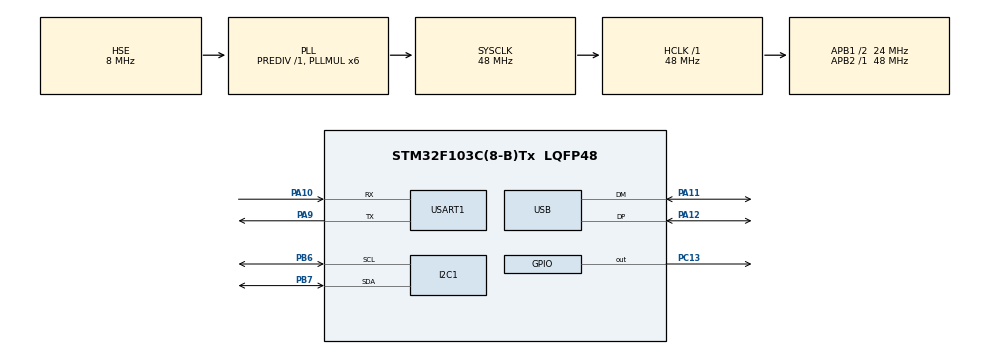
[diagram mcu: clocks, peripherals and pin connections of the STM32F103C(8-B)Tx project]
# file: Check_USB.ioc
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I2C1.I2C_Mode=I2C_Fast
Mcu.Family=STM32F1
Mcu.Name=STM32F103C(8-B)Tx
Mcu.Package=LQFP48
NVIC.PriorityGroup=NVIC_PRIORITYGROUP_4
NVIC.USB_LP_CAN1_RX0_IRQn=true\:0\:0\:false\:false\:true\:false\:true\:true
PA10.Mode=Asynchronous
PA10.Signal=USART1_RX
PA11.Mode=Device
PA11.Signal=USB_DM
PA12.Mode=Device
PA12.Signal=USB_DP
PA13.Mode=Serial_Wire
PA13.Signal=SYS_JTMS-SWDIO
PA14.Mode=Serial_Wire
PA14.Signal=SYS_JTCK-SWCLK
PA9.Mode=Asynchronous
PA9.Signal=USART1_TX
PB6.Mode=I2C
PB6.Signal=I2C1_SCL
PB7.Mode=I2C
PB7.Signal=I2C1_SDA
PC13-TAMPER-RTC.PinState=GPIO_PIN_SET
PC13-TAMPER-RTC.Signal=GPIO_Output
PD0-OSC_IN.Mode=HSE-External-Oscillator
PD0-OSC_IN.Signal=RCC_OSC_IN
PD1-OSC_OUT.Mode=HSE-External-Oscillator
PD1-OSC_OUT.Signal=RCC_OSC_OUT
ProjectManager.HeapSize=0x800
ProjectManager.StackSize=0x400
ProjectManager.TargetToolchain=MDK-ARM V5.27
RCC.AHBFreq_Value=48000000
RCC.APB1CLKDivider=RCC_HCLK_DIV2
RCC.APB1Freq_Value=24000000
RCC.APB1TimFreq_Value=48000000
RCC.APB2Freq_Value=48000000
RCC.APB2TimFreq_Value=48000000
RCC.HCLKFreq_Value=48000000
RCC.PLLMUL=RCC_PLL_MUL6
RCC.SYSCLKFreq_VALUE=48000000
RCC.SYSCLKSource=RCC_SYSCLKSOURCE_PLLCLK
RCC.USBFreq_Value=48000000
USART1.VirtualMode=VM_ASYNC
USB_DEVICE.APP_RX_DATA_SIZE=64
USB_DEVICE.APP_TX_DATA_SIZE=64
USB_DEVICE.CLASS_NAME_FS=CDC
USB_DEVICE.VirtualMode=Cdc
USB_DEVICE.VirtualModeFS=Cdc_FS
VP_USB_DEVICE_VS_USB_DEVICE_CDC_FS.Mode=CDC_FS
board=custom

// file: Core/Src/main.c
/* USER CODE BEGIN Header */
/**
  ******************************************************************************
  * @file           : main.c
  * @brief          : Main program body
  ******************************************************************************
  * @attention
  *
  * <h2><center>&copy; Copyright (c) 2025 STMicroelectronics.
  * All rights reserved.</center></h2>
  *
  * This software component is licensed by ST under Ultimate Liberty license
  * SLA0044, the "License"; You may not use this file except in compliance with
  * the License. You may obtain a copy of the License at:
  *                             www.st.com/SLA0044
  *
  ******************************************************************************
  */
/* USER CODE END Header */
#include "main.h"
#include "usb_device.h"

I2C_HandleTypeDef hi2c1;

UART_HandleTypeDef huart1;

void SystemClock_Config(void);
static void MX_GPIO_Init(void);
static void MX_I2C1_Init(void);
static void MX_USART1_UART_Init(void);

/* USER CODE BEGIN 0 */
uint8_t Rx_Buffer[12];
uint8_t TX_Data [20];
void ProcessRxBuffer(void);
void ProcessRxBuffer(void)
{
    if (strcmp((char*)Rx_Buffer, "00000000011") == 0)
    {
        HAL_GPIO_WritePin(GPIOC, GPIO_PIN_13, GPIO_PIN_SET); // T?t LED (LED OFF)
        strcpy((char *)TX_Data, "LED Off \r\n");
        int len = strlen((char *)TX_Data);
        CDC_Transmit_FS((uint8_t *)TX_Data, len);
    }
    else if (strcmp((char*)Rx_Buffer, "00000001011") == 0)
    {
        HAL_GPIO_WritePin(GPIOC, GPIO_PIN_13, GPIO_PIN_RESET); // B?t LED (LED ON)
        strcpy((char *)TX_Data, "LED On \r\n");
        int len = strlen((char *)TX_Data);
        CDC_Transmit_FS((uint8_t *)TX_Data, len);
    }
}

/* USER CODE END 0 */

int main(void)
{

  /* MCU Configuration--------------------------------------------------------*/

  /* Reset of all peripherals, Initializes the Flash interface and the Systick. */
  HAL_Init();

  /* Configure the system clock */
  SystemClock_Config();

  /* Initialize all configured peripherals */
  MX_GPIO_Init();
  MX_USB_DEVICE_Init();
  MX_I2C1_Init();
  MX_USART1_UART_Init();

  /* Infinite loop */
  /* USER CODE BEGIN WHILE */
  while (1)
  {
		if (Rx_Buffer[0] != 0)
    {
        ProcessRxBuffer();
        memset(Rx_Buffer, 0, sizeof(Rx_Buffer));
    }
    /* USER CODE END WHILE */

  }
}

void SystemClock_Config(void)
{
  RCC_OscInitTypeDef RCC_OscInitStruct = {0};
  RCC_ClkInitTypeDef RCC_ClkInitStruct = {0};
  RCC_PeriphCLKInitTypeDef PeriphClkInit = {0};

  /** Initializes the RCC Oscillators according to the specified parameters
  * in the RCC_OscInitTypeDef structure.
  */
  RCC_OscInitStruct.OscillatorType = RCC_OSCILLATORTYPE_HSE;
  RCC_OscInitStruct.HSEState = RCC_HSE_ON;
  RCC_OscInitStruct.HSEPredivValue = RCC_HSE_PREDIV_DIV1;
  RCC_OscInitStruct.HSIState = RCC_HSI_ON;
  RCC_OscInitStruct.PLL.PLLState = RCC_PLL_ON;
  RCC_OscInitStruct.PLL.PLLSource = RCC_PLLSOURCE_HSE;
  RCC_OscInitStruct.PLL.PLLMUL = RCC_PLL_MUL6;
  if (HAL_RCC_OscConfig(&RCC_OscInitStruct) != HAL_OK)
  {
    Error_Handler();
  }
  /** Initializes the CPU, AHB and APB buses clocks
  */
  RCC_ClkInitStruct.ClockType = RCC_CLOCKTYPE_HCLK|RCC_CLOCKTYPE_SYSCLK
                              |RCC_CLOCKTYPE_PCLK1|RCC_CLOCKTYPE_PCLK2;
  RCC_ClkInitStruct.SYSCLKSource = RCC_SYSCLKSOURCE_PLLCLK;
  RCC_ClkInitStruct.AHBCLKDivider = RCC_SYSCLK_DIV1;
  RCC_ClkInitStruct.APB1CLKDivider = RCC_HCLK_DIV2;
  RCC_ClkInitStruct.APB2CLKDivider = RCC_HCLK_DIV1;

  if (HAL_RCC_ClockConfig(&RCC_ClkInitStruct, FLASH_LATENCY_1) != HAL_OK)
  {
    Error_Handler();
  }
  PeriphClkInit.PeriphClockSelection = RCC_PERIPHCLK_USB;
  PeriphClkInit.UsbClockSelection = RCC_USBCLKSOURCE_PLL;
  if (HAL_RCCEx_PeriphCLKConfig(&PeriphClkInit) != HAL_OK)
  {
    Error_Handler();
  }
}

static void MX_I2C1_Init(void)
{

  hi2c1.Instance = I2C1;
  hi2c1.Init.ClockSpeed = 400000;
  hi2c1.Init.DutyCycle = I2C_DUTYCYCLE_2;
  hi2c1.Init.OwnAddress1 = 0;
  hi2c1.Init.AddressingMode = I2C_ADDRESSINGMODE_7BIT;
  hi2c1.Init.DualAddressMode = I2C_DUALADDRESS_DISABLE;
  hi2c1.Init.OwnAddress2 = 0;
  hi2c1.Init.GeneralCallMode = I2C_GENERALCALL_DISABLE;
  hi2c1.Init.NoStretchMode = I2C_NOSTRETCH_DISABLE;
  if (HAL_I2C_Init(&hi2c1) != HAL_OK)
  {
    Error_Handler();
  }

}

static void MX_USART1_UART_Init(void)
{

  huart1.Instance = USART1;
  huart1.Init.BaudRate = 115200;
  huart1.Init.WordLength = UART_WORDLENGTH_8B;
  huart1.Init.StopBits = UART_STOPBITS_1;
  huart1.Init.Parity = UART_PARITY_NONE;
  huart1.Init.Mode = UART_MODE_TX_RX;
  huart1.Init.HwFlowCtl = UART_HWCONTROL_NONE;
  huart1.Init.OverSampling = UART_OVERSAMPLING_16;
  if (HAL_UART_Init(&huart1) != HAL_OK)
  {
    Error_Handler();
  }

}

static void MX_GPIO_Init(void)
{
  GPIO_InitTypeDef GPIO_InitStruct = {0};

  /* GPIO Ports Clock Enable */
  __HAL_RCC_GPIOC_CLK_ENABLE();
  __HAL_RCC_GPIOD_CLK_ENABLE();
  __HAL_RCC_GPIOA_CLK_ENABLE();
  __HAL_RCC_GPIOB_CLK_ENABLE();

  /*Configure GPIO pin Output Level */
  HAL_GPIO_WritePin(GPIOC, GPIO_PIN_13, GPIO_PIN_SET);

  /*Configure GPIO pin : PC13 */
  GPIO_InitStruct.Pin = GPIO_PIN_13;
  GPIO_InitStruct.Mode = GPIO_MODE_OUTPUT_PP;
  GPIO_InitStruct.Pull = GPIO_NOPULL;
  GPIO_InitStruct.Speed = GPIO_SPEED_FREQ_LOW;
  HAL_GPIO_Init(GPIOC, &GPIO_InitStruct);

}

void Error_Handler(void)
{
}

/************************ (C) COPYRIGHT STMicroelectronics *****END OF FILE****/
